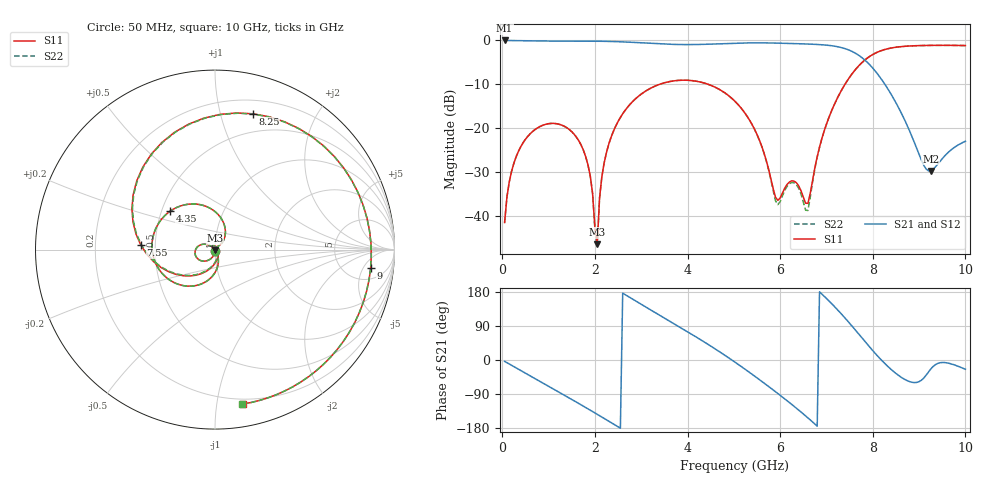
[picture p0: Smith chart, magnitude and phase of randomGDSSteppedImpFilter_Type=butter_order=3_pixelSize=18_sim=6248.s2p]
! freq	dB(S11)	phase(S11)	dB(S12)	phase(S12)
!  dB(S21)	phase(S21)	dB(S22)	phase(S22)
!S-par simulation data
#  GHz  S  DB  R 50
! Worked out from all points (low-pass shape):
!   200 points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, 50 MHz to 10 GHz, reference 50 ohm
!   highest |S21| = -0.01 dB at 50 MHz (marker M1); lowest = -29.7 dB at 9.25 GHz (marker M2)
!   |S21| within 3 dB of the highest: start of sweep to 7.64 GHz
!   lowest |S11| = -46.4 dB at 2.05 GHz (marker M3), VSWR 1.01, Z = 50 - j0.476 ohm
!   |S11| at or under -10 dB: start of sweep to 3.395 GHz; 4.449 GHz to 7.4 GHz (2.951 GHz wide, 49.8 % of centre)
!   |S22| runs from -46.8 to -1.1 dB; largest |S21 - S12| = 0
!   S11 on the Smith chart (normalised r, x): 50 MHz: 1.00, -0.02; 4.35 GHz: 0.56, +0.27; 7.55 GHz: 0.41, +0.03; 8.25 GHz: 0.32, +1.26; 9 GHz: 9, -7; 10 GHz: 0.16, -1.19
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0.05  -41.47 -90.9  -0.01 -3.6  -0.01 -3.6  -41.47 -90.9
0.25  -27.96 -106.9  -0.04 -17.5  -0.04 -17.5  -27.96 -106.9
0.65  -20.78 -135.4  -0.10 -45.2  -0.10 -45.2  -20.78 -135.5
1.75  -24.96 148.8  -0.16 -121.7  -0.16 -121.7  -24.96 148.4
2.05  -46.45 -90.7  -0.18 -143.3  -0.18 -143.3  -46.85 -87.4
2.15  -31.03 -64.5  -0.19 -150.6  -0.19 -150.6  -31.03 -63.3
2.35  -22.02 -77.1  -0.24 -165.2  -0.24 -165.2  -22.02 -76.6
3.4  -9.98 -152.4  -0.78 118.0  -0.78 118.0  -9.98 -152.3
4.35  -9.67 139.1  -0.89 48.4  -0.89 48.4  -9.67 139.2
5.05  -14.14 84.9  -0.62 -7.8  -0.62 -7.8  -14.15 84.8
5.9  -35.72 71.3  -0.60 -83.7  -0.60 -83.7  -36.52 69.2
6.3  -32.03 110.5  -0.72 -122.1  -0.72 -122.1  -32.43 114.6
6.6  -37.09 8.2  -0.82 -152.8  -0.82 -152.8  -38.72 4.6
6.7  -31.83 -45.9  -0.86 -163.5  -0.86 -163.5  -32.26 -51.5
7.1  -16.30 -119.3  -1.19 150.2  -1.19 150.2  -16.30 -120.7
7.55  -7.65 176.4  -2.49 89.8  -2.49 89.8  -7.65 175.5
7.9  -3.89 123.8  -5.18 38.9  -5.18 38.9  -3.89 123.0
8.25  -2.10 74.5  -9.80 -8.1  -9.80 -8.1  -2.10 73.8
8.35  -1.83 61.7  -11.45 -19.8  -11.45 -19.8  -1.83 61.0
9  -1.18 -6.6  -25.97 -57.1  -25.97 -57.1  -1.18 -7.3
9.25  -1.13 -27.5  -29.72 -24.1  -29.72 -24.1  -1.13 -28.2
10  -1.17 -79.6  -22.96 -24.5  -22.96 -24.5  -1.17 -80.2
